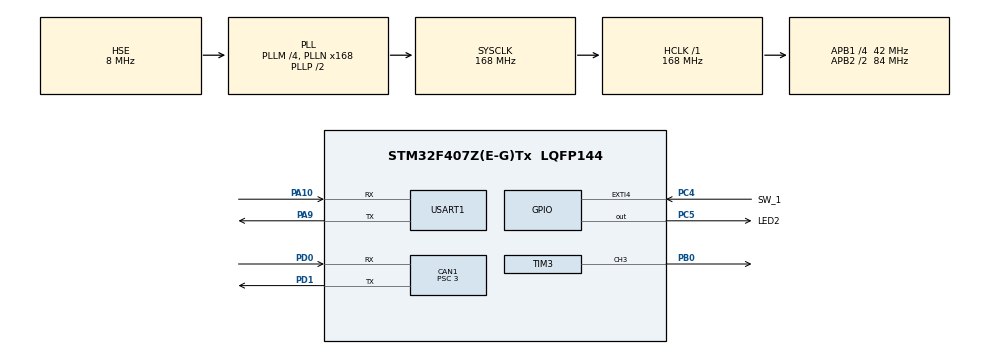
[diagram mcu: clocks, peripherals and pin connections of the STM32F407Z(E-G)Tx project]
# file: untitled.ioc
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CAN1.ABOM=ENABLE
CAN1.BS1=CAN_BS1_9TQ
CAN1.BS2=CAN_BS2_4TQ
CAN1.CalculateBaudRate=1000000
CAN1.CalculateTimeBit=1000
CAN1.CalculateTimeQuantum=71.42857142857143
CAN1.NART=ENABLE
CAN1.Prescaler=3
CAN1.TXFP=ENABLE
Mcu.Family=STM32F4
Mcu.Name=STM32F407Z(E-G)Tx
Mcu.Package=LQFP144
NVIC.CAN1_RX0_IRQn=true\:0\:0\:false\:false\:true\:true\:true\:true
NVIC.EXTI4_IRQn=true\:2\:0\:true\:false\:true\:true\:true\:true
NVIC.PriorityGroup=NVIC_PRIORITYGROUP_4
NVIC.TIM2_IRQn=true\:3\:0\:true\:false\:true\:true\:true\:true
NVIC.TIM3_IRQn=true\:1\:0\:true\:false\:true\:true\:true\:true
NVIC.USART1_IRQn=true\:4\:0\:true\:false\:true\:true\:true\:true
PA10.Mode=Asynchronous
PA10.Signal=USART1_RX
PA13.Mode=Serial_Wire
PA13.Signal=SYS_JTMS-SWDIO
PA14.Mode=Serial_Wire
PA14.Signal=SYS_JTCK-SWCLK
PA9.Mode=Asynchronous
PA9.Signal=USART1_TX
PB0.Signal=S_TIM3_CH3
PC4.GPIO_Label=SW_1
PC4.GPIO_ModeDefaultEXTI=GPIO_MODE_IT_RISING
PC4.Signal=GPXTI4
PC5.GPIO_Label=LED2
PC5.PinState=GPIO_PIN_SET
PC5.Signal=GPIO_Output
PD0.Mode=CAN_Activate
PD0.Signal=CAN1_RX
PD1.Mode=CAN_Activate
PD1.Signal=CAN1_TX
PH0-OSC_IN.Mode=HSE-External-Oscillator
PH0-OSC_IN.Signal=RCC_OSC_IN
PH1-OSC_OUT.Mode=HSE-External-Oscillator
PH1-OSC_OUT.Signal=RCC_OSC_OUT
ProjectManager.HeapSize=0x200
ProjectManager.StackSize=0x400
ProjectManager.TargetToolchain=STM32CubeIDE
RCC.48MHZClocksFreq_Value=84000000
RCC.AHBFreq_Value=168000000
RCC.APB1CLKDivider=RCC_HCLK_DIV4
RCC.APB1Freq_Value=42000000
RCC.APB1TimFreq_Value=84000000
RCC.APB2CLKDivider=RCC_HCLK_DIV2
RCC.APB2Freq_Value=84000000
RCC.APB2TimFreq_Value=168000000
RCC.CortexFreq_Value=168000000
RCC.HCLKFreq_Value=168000000
RCC.HSE_VALUE=8000000
RCC.HSI_VALUE=16000000
RCC.LSE_VALUE=32768
RCC.PLLM=4
RCC.PLLN=168
RCC.PLLSourceVirtual=RCC_PLLSOURCE_HSE
RCC.SYSCLKFreq_VALUE=168000000
RCC.SYSCLKSource=RCC_SYSCLKSOURCE_PLLCLK
RCC.VCOOutputFreq_Value=336000000
SH.S_TIM3_CH3.0=TIM3_CH3,PWM Generation3 CH3
TIM2.AutoReloadPreload=TIM_AUTORELOAD_PRELOAD_ENABLE
TIM2.Period=199
TIM2.Prescaler=8399
TIM3.AutoReloadPreload=TIM_AUTORELOAD_PRELOAD_ENABLE
TIM3.Channel-PWM\ Generation3\ CH3=TIM_CHANNEL_3
TIM3.OCPolarity_3=TIM_OCPOLARITY_LOW
TIM3.Period=499
TIM3.Prescaler=83
USART1.VirtualMode=VM_ASYNC
VP_TIM2_VS_ClockSourceINT.Mode=Internal
VP_TIM3_VS_ClockSourceINT.Mode=Internal
board=custom

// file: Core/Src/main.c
/* USER CODE BEGIN Header */
/**
  ******************************************************************************
  * @file           : main.c
  * @brief          : Main program body
  ******************************************************************************
  * @attention
  *
  * Copyright (c) 2024 STMicroelectronics.
  * All rights reserved.
  *
  * This software is licensed under terms that can be found in the LICENSE file
  * in the root directory of this software component.
  * If no LICENSE file comes with this software, it is provided AS-IS.
  *
  ******************************************************************************
  */
/* USER CODE END Header */
#include "main.h"
#include "can.h"
#include "tim.h"
#include "usart.h"
#include "gpio.h"

/* USER CODE BEGIN PV */
    uint32_t  LED_Status=0;
    uint16_t  Pwm_Dc=0;
    uint8_t  Sw_Status=0;
    char off[]="off";
    char on[]="on";
    char wr[]="wrong command";
    char cm=0;
    enum Status{
        LED_ON,
        LED_OFF
    }state;
/* USER CODE END PV */

void SystemClock_Config(void);

int main(void)
{

  /* MCU Configuration--------------------------------------------------------*/

  /* Reset of all peripherals, Initializes the Flash interface and the Systick. */
  HAL_Init();

  /* Configure the system clock */
  SystemClock_Config();

  /* Initialize all configured peripherals */
  MX_GPIO_Init();
  MX_TIM2_Init();
  MX_TIM3_Init();
  MX_USART1_UART_Init();
  MX_CAN1_Init();
  /* USER CODE BEGIN 2 */
    HAL_TIM_PWM_Start(&htim3,TIM_CHANNEL_3);
    HAL_UART_Receive_IT(&huart1,(uint8_t*)&cm,1);
  /* USER CODE END 2 */

  /* Infinite loop */
  /* USER CODE BEGIN WHILE */
  while (1)
  {
      if(Sw_Status==1||Sw_Status==2)
      {

          HAL_Delay(LED_Status);
          HAL_GPIO_WritePin(LED2_GPIO_Port,LED2_Pin ,GPIO_PIN_RESET);

          HAL_Delay(LED_Status);
          HAL_GPIO_WritePin(LED2_GPIO_Port,LED2_Pin,GPIO_PIN_SET);
      }
      if(Sw_Status==3)
      {
          while(Pwm_Dc<500)
          {
              Pwm_Dc++;
              __HAL_TIM_SetCompare(&htim3,TIM_CHANNEL_3,Pwm_Dc);
              //TIM3->CCR3=Pwm_Dc;
              HAL_Delay(2);
          }
          while(Pwm_Dc>0)
          {
              Pwm_Dc--;
              __HAL_TIM_SetCompare(&htim3,TIM_CHANNEL_3,Pwm_Dc);
              HAL_Delay(2);
          }
          HAL_Delay(298);
      }

      /*if(LED_Status)
      {
          HAL_Delay(500);
          HAL_GPIO_WritePin(LED2_GPIO_Port,LED2_Pin,GPIO_PIN_RESET);
          HAL_Delay(500);
          HAL_GPIO_WritePin(LED2_GPIO_Port,LED2_Pin,GPIO_PIN_SET);

      }
      if(!LED_Status)
      {
          HAL_Delay(1000);
          HAL_GPIO_WritePin(LED2_GPIO_Port,LED2_Pin,GPIO_PIN_RESET);
          HAL_Delay(1000);
          HAL_GPIO_WritePin(LED2_GPIO_Port,LED2_Pin,GPIO_PIN_SET);
      }*/

    /* USER CODE END WHILE */

  }
}

void SystemClock_Config(void)
{
  RCC_OscInitTypeDef RCC_OscInitStruct = {0};
  RCC_ClkInitTypeDef RCC_ClkInitStruct = {0};

  /** Configure the main internal regulator output voltage
  */
  __HAL_RCC_PWR_CLK_ENABLE();
  __HAL_PWR_VOLTAGESCALING_CONFIG(PWR_REGULATOR_VOLTAGE_SCALE1);

  /** Initializes the RCC Oscillators according to the specified parameters
  * in the RCC_OscInitTypeDef structure.
  */
  RCC_OscInitStruct.OscillatorType = RCC_OSCILLATORTYPE_HSE;
  RCC_OscInitStruct.HSEState = RCC_HSE_ON;
  RCC_OscInitStruct.PLL.PLLState = RCC_PLL_ON;
  RCC_OscInitStruct.PLL.PLLSource = RCC_PLLSOURCE_HSE;
  RCC_OscInitStruct.PLL.PLLM = 4;
  RCC_OscInitStruct.PLL.PLLN = 168;
  RCC_OscInitStruct.PLL.PLLP = RCC_PLLP_DIV2;
  RCC_OscInitStruct.PLL.PLLQ = 4;
  if (HAL_RCC_OscConfig(&RCC_OscInitStruct) != HAL_OK)
  {
    Error_Handler();
  }

  /** Initializes the CPU, AHB and APB buses clocks
  */
  RCC_ClkInitStruct.ClockType = RCC_CLOCKTYPE_HCLK|RCC_CLOCKTYPE_SYSCLK
                              |RCC_CLOCKTYPE_PCLK1|RCC_CLOCKTYPE_PCLK2;
  RCC_ClkInitStruct.SYSCLKSource = RCC_SYSCLKSOURCE_PLLCLK;
  RCC_ClkInitStruct.AHBCLKDivider = RCC_SYSCLK_DIV1;
  RCC_ClkInitStruct.APB1CLKDivider = RCC_HCLK_DIV4;
  RCC_ClkInitStruct.APB2CLKDivider = RCC_HCLK_DIV2;

  if (HAL_RCC_ClockConfig(&RCC_ClkInitStruct, FLASH_LATENCY_5) != HAL_OK)
  {
    Error_Handler();
  }
}

/* USER CODE BEGIN 4 */
void HAL_GPIO_EXTI_Callback(uint16_t GPIO_Pin)
{
    /* Prevent unused argument(s) compilation warning */
    if(GPIO_Pin==SW_1_Pin)
    {
        HAL_TIM_Base_Start_IT(&htim2);
        //HAL_TIM_IRQHandler(&htim2);
        Sw_Status++;
        Sw_Status%=4;
        if(HAL_GPIO_ReadPin(SW_1_GPIO_Port,SW_1_Pin)==GPIO_PIN_SET)
        {
            if(Sw_Status==1)
            {
                LED_Status=500;
            }
            if(Sw_Status==2)
            {
                LED_Status=1000;
            }

        }
    }

    UNUSED(GPIO_Pin);
    /* NOTE: This function Should not be modified, when the callback is needed,
             the HAL_GPIO_EXTI_Callback could be implemented in the user file
     */
}
void HAL_TIM_PeriodElapsedCallback(TIM_HandleTypeDef *htim)
{
    /* Prevent unused argument(s) compilation warning */
    ///HAL_TIM_Base_Start_IT(&htim2);

    UNUSED(htim);

    /* NOTE : This function should not be modified, when the callback is needed,
              the HAL_TIM_PeriodElapsedCallback could be implemented in the user file
     */
}

void HAL_UART_RxCpltCallback(UART_HandleTypeDef *huart)
{

    if(cm=='a')
    {
        LED_Status=250;
        HAL_UART_Transmit_IT(&huart1,(uint8_t*)&on,3);

    }
    else if(cm=='b')
    {
        LED_Status=500;
        HAL_UART_Transmit_IT(&huart1,(uint8_t*)&off,4);
    }
    else
    {
        HAL_UART_Transmit_IT(&huart1,(uint8_t*)&wr,14);
    }
    HAL_UART_Receive_IT(&huart1,(uint8_t*)&cm,1);
    /* Prevent unused argument(s) compilation warning */
    UNUSED(huart);
    /* NOTE: This function should not be modified, when the callback is needed,
             the HAL_UART_RxCpltCallback could be implemented in the user file
     */
}
/* USER CODE END 4 */

void Error_Handler(void)
{
  __disable_irq();
  while (1)
  {
  }
}
